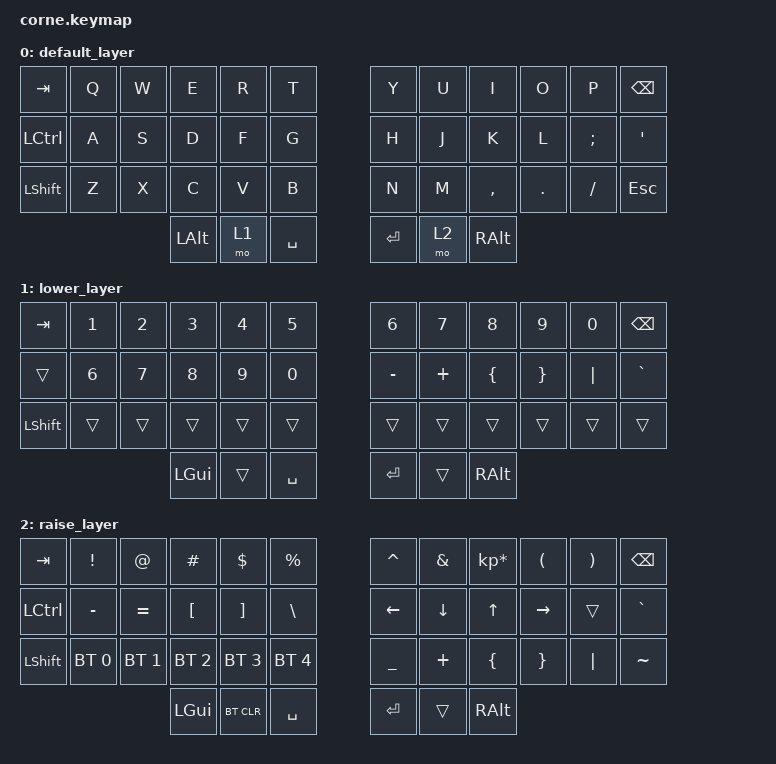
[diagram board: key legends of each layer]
/*
 * Copyright (c) 2020 The ZMK Contributors
 *
 * SPDX-License-Identifier: MIT
 */

#include <behaviors.dtsi>
#include <dt-bindings/zmk/bt.h>
#include <dt-bindings/zmk/keys.h>

/ {
    keymap {
        compatible = "zmk,keymap";

        default_layer {
            bindings = <
  &kp TAB  &kp Q  &kp W     &kp E  &kp R      &kp T      &kp Y  &kp U      &kp I    &kp O     &kp P  &kp BSPC
&kp LCTRL  &kp A  &kp S     &kp D  &kp F      &kp G      &kp H  &kp J      &kp K    &kp L  &kp SEMI   &kp SQT
&kp LSHFT  &kp Z  &kp X     &kp C  &kp V      &kp B      &kp N  &kp M  &kp COMMA  &kp DOT  &kp FSLH   &kp ESC
                         &kp LALT  &mo 1  &kp SPACE    &kp RET  &mo 2   &kp RALT
            >;
        };

        lower_layer {

            bindings = <
  &kp TAB        &kp N1  &kp N2    &kp N3  &kp N4     &kp N5       &kp N6    &kp N7    &kp N8    &kp N9    &kp N0   &kp BSPC
   &trans  &kp NUMBER_6  &kp N7    &kp N8  &kp N9     &kp N0    &kp MINUS  &kp PLUS  &kp LBRC  &kp RBRC  &kp PIPE  &kp GRAVE
&kp LSHFT        &trans  &trans    &trans  &trans     &trans       &trans    &trans    &trans    &trans    &trans     &trans
                                 &kp LGUI  &trans  &kp SPACE      &kp RET    &trans  &kp RALT
            >;
        };

        raise_layer {
                
            bindings = <
  &kp TAB      &kp EXCL        &kp AT      &kp HASH      &kp DLLR     &kp PRCNT    &kp CARET  &kp AMPS  &kp KP_MULTIPLY   &kp LPAR  &kp RPAR   &kp BSPC
&kp LCTRL     &kp MINUS     &kp EQUAL      &kp LBKT      &kp RBKT      &kp BSLH     &kp LEFT  &kp DOWN           &kp UP  &kp RIGHT    &trans  &kp GRAVE
&kp LSHFT  &bt BT_SEL 0  &bt BT_SEL 1  &bt BT_SEL 2  &bt BT_SEL 3  &bt BT_SEL 4    &kp UNDER  &kp PLUS         &kp LBRC   &kp RBRC  &kp PIPE  &kp TILDE
                                           &kp LGUI    &bt BT_CLR     &kp SPACE      &kp RET    &trans         &kp RALT
            >;
        };
    };
};
